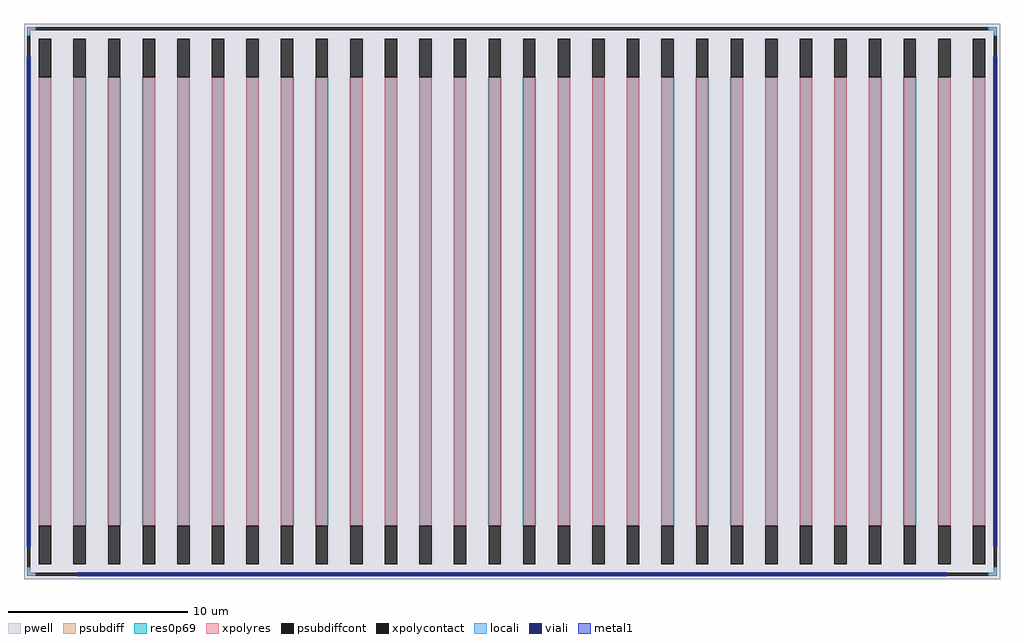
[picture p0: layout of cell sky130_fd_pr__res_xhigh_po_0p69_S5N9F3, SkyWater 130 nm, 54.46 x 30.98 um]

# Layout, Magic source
magic
tech sky130A
magscale 1 2
<< pwell >>
rect -5446 -3098 5446 3098
<< psubdiff >>
rect -5410 3028 -5314 3062
rect 5314 3028 5410 3062
rect -5410 2966 -5376 3028
rect 5376 2966 5410 3028
rect -5410 -3028 -5376 -2966
rect 5376 -3028 5410 -2966
rect -5410 -3062 -5314 -3028
rect 5314 -3062 5410 -3028
<< psubdiffcont >>
rect -5314 3028 5314 3062
rect -5410 -2966 -5376 2966
rect 5376 -2966 5410 2966
rect -5314 -3062 5314 -3028
<< xpolycontact >>
rect -5280 2500 -5142 2932
rect -5280 -2932 -5142 -2500
rect -4894 2500 -4756 2932
rect -4894 -2932 -4756 -2500
rect -4508 2500 -4370 2932
rect -4508 -2932 -4370 -2500
rect -4122 2500 -3984 2932
rect -4122 -2932 -3984 -2500
rect -3736 2500 -3598 2932
rect -3736 -2932 -3598 -2500
rect -3350 2500 -3212 2932
rect -3350 -2932 -3212 -2500
rect -2964 2500 -2826 2932
rect -2964 -2932 -2826 -2500
rect -2578 2500 -2440 2932
rect -2578 -2932 -2440 -2500
rect -2192 2500 -2054 2932
rect -2192 -2932 -2054 -2500
rect -1806 2500 -1668 2932
rect -1806 -2932 -1668 -2500
rect -1420 2500 -1282 2932
rect -1420 -2932 -1282 -2500
rect -1034 2500 -896 2932
rect -1034 -2932 -896 -2500
rect -648 2500 -510 2932
rect -648 -2932 -510 -2500
rect -262 2500 -124 2932
rect -262 -2932 -124 -2500
rect 124 2500 262 2932
rect 124 -2932 262 -2500
rect 510 2500 648 2932
rect 510 -2932 648 -2500
rect 896 2500 1034 2932
rect 896 -2932 1034 -2500
rect 1282 2500 1420 2932
rect 1282 -2932 1420 -2500
rect 1668 2500 1806 2932
rect 1668 -2932 1806 -2500
rect 2054 2500 2192 2932
rect 2054 -2932 2192 -2500
rect 2440 2500 2578 2932
rect 2440 -2932 2578 -2500
rect 2826 2500 2964 2932
rect 2826 -2932 2964 -2500
rect 3212 2500 3350 2932
rect 3212 -2932 3350 -2500
rect 3598 2500 3736 2932
rect 3598 -2932 3736 -2500
rect 3984 2500 4122 2932
rect 3984 -2932 4122 -2500
rect 4370 2500 4508 2932
rect 4370 -2932 4508 -2500
rect 4756 2500 4894 2932
rect 4756 -2932 4894 -2500
rect 5142 2500 5280 2932
rect 5142 -2932 5280 -2500
<< xpolyres >>
rect -5280 -2500 -5142 2500
rect -4894 -2500 -4756 2500
rect -4508 -2500 -4370 2500
rect -4122 -2500 -3984 2500
rect -3736 -2500 -3598 2500
rect -3350 -2500 -3212 2500
rect -2964 -2500 -2826 2500
rect -2578 -2500 -2440 2500
rect -2192 -2500 -2054 2500
rect -1806 -2500 -1668 2500
rect -1420 -2500 -1282 2500
rect -1034 -2500 -896 2500
rect -648 -2500 -510 2500
rect -262 -2500 -124 2500
rect 124 -2500 262 2500
rect 510 -2500 648 2500
rect 896 -2500 1034 2500
rect 1282 -2500 1420 2500
rect 1668 -2500 1806 2500
rect 2054 -2500 2192 2500
rect 2440 -2500 2578 2500
rect 2826 -2500 2964 2500
rect 3212 -2500 3350 2500
rect 3598 -2500 3736 2500
rect 3984 -2500 4122 2500
rect 4370 -2500 4508 2500
rect 4756 -2500 4894 2500
rect 5142 -2500 5280 2500
<< locali >>
rect -5410 3028 -5314 3062
rect 5314 3028 5410 3062
rect -5410 2966 -5376 3028
rect 5376 2966 5410 3028
rect -5410 -3028 -5376 -2966
rect 5376 -3028 5410 -2966
rect -5410 -3062 -5314 -3028
rect 5314 -3062 5410 -3028
<< viali >>
rect -5410 -2725 -5376 2725
rect 5376 -2725 5410 2725
rect -4838 -3062 4838 -3028
<< metal1 >>
rect -5416 2725 -5370 2737
rect -5416 -2725 -5410 2725
rect -5376 -2725 -5370 2725
rect -5416 -2737 -5370 -2725
rect 5370 2725 5416 2737
rect 5370 -2725 5376 2725
rect 5410 -2725 5416 2725
rect 5370 -2737 5416 -2725
rect -4850 -3028 4850 -3022
rect -4850 -3062 -4838 -3028
rect 4838 -3062 4850 -3028
rect -4850 -3068 4850 -3062
<< res0p69 >>
rect -5282 -2502 -5140 2502
rect -4896 -2502 -4754 2502
rect -4510 -2502 -4368 2502
rect -4124 -2502 -3982 2502
rect -3738 -2502 -3596 2502
rect -3352 -2502 -3210 2502
rect -2966 -2502 -2824 2502
rect -2580 -2502 -2438 2502
rect -2194 -2502 -2052 2502
rect -1808 -2502 -1666 2502
rect -1422 -2502 -1280 2502
rect -1036 -2502 -894 2502
rect -650 -2502 -508 2502
rect -264 -2502 -122 2502
rect 122 -2502 264 2502
rect 508 -2502 650 2502
rect 894 -2502 1036 2502
rect 1280 -2502 1422 2502
rect 1666 -2502 1808 2502
rect 2052 -2502 2194 2502
rect 2438 -2502 2580 2502
rect 2824 -2502 2966 2502
rect 3210 -2502 3352 2502
rect 3596 -2502 3738 2502
rect 3982 -2502 4124 2502
rect 4368 -2502 4510 2502
rect 4754 -2502 4896 2502
rect 5140 -2502 5282 2502
<< properties >>
string gencell sky130_fd_pr__res_xhigh_po_0p69
string FIXED_BBOX -5393 -3045 5393 3045
string parameters w 0.69 l 25.0 m 1 nx 28 wmin 0.690 lmin 0.50 rho 2000 val 72.811k dummy 0 dw 0.0 term 120 sterm 0.0 caplen 0 wmax 0.690 guard 1 glc 1 grc 1 gtc 1 gbc 1 compatible {sky130_fd_pr__res_xhigh_po_0p35  sky130_fd_pr__res_xhigh_po_0p69 sky130_fd_pr__res_xhigh_po_1p41  sky130_fd_pr__res_xhigh_po_2p85 sky130_fd_pr__res_xhigh_po_5p73} full_metal 1 vias 0 viagb 90 viagt 0 viagl 90 viagr 90
string library sky130
<< end >>
